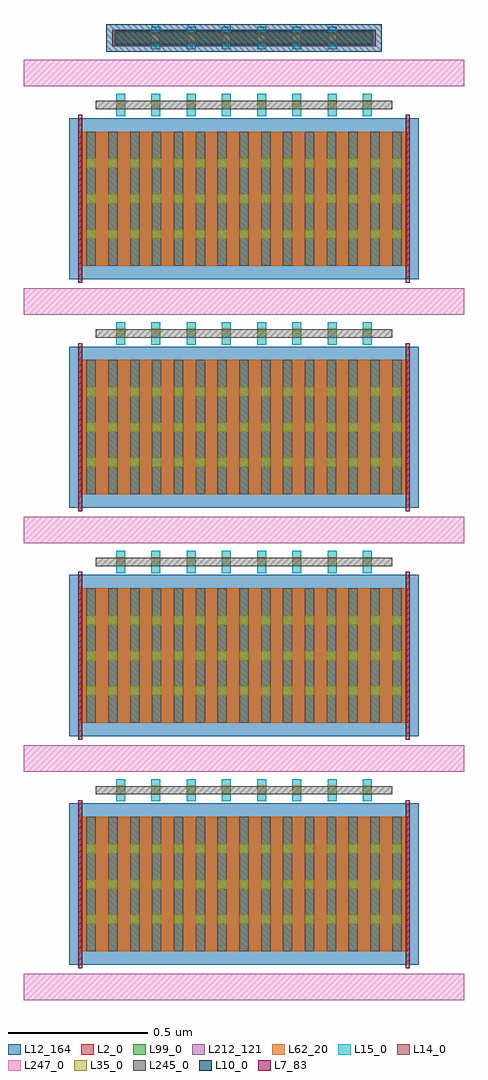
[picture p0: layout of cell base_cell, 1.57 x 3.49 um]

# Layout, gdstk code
import gdstk
lib = gdstk.Library(unit=1e-6, precision=1e-12)
def R(c, l, rs):  # rectangles x0, y0, x1, y1
    for r in rs: c.add(gdstk.rectangle(r[:2], r[2:], *l))
def A(c, l, x, y, w, h, nx, ny, dx, dy):  # array of equal rectangles
    R(c, l, [(x+i*dx, y+j*dy, x+i*dx+w, y+j*dy+h) for i in range(nx) for j in range(ny)])
L2_0 = (2, 0)
L7_83 = (7, 83)
L10_0 = (10, 0)
L12_164 = (12, 164)
L14_0 = (14, 0)
L15_0 = (15, 0)
L35_0 = (35, 0)
L62_20 = (62, 20)
L99_0 = (99, 0)
L212_121 = (212, 121)
L245_0 = (245, 0)
L247_0 = (247, 0)

base_cell = lib.new_cell('base_cell')
A(base_cell, L2_0, 0, 0, 1.17, 0.48, 1, 4, 0, 0.816)
R(base_cell, L2_0, [(0.1136,3.232,1.0564,3.292)])
A(base_cell, L7_83, -0.007, -0.06, 0.014, 0.6, 1, 4, 0, 0.816)
A(base_cell, L7_83, 1.163, -0.06, 0.014, 0.6, 1, 4, 0, 0.816)
R(base_cell, L10_0, [(0.0936,3.212,1.0764,3.312)])
A(base_cell, L12_164, -0.039, -0.048, 1.248, 0.576, 1, 4, 0, 0.816)
A(base_cell, L14_0, 0.022, 0, 0.034, 0.48, 15, 4, 0.078, 0.816)
R(base_cell, L14_0, [(0.1286,3.242,1.0414,3.282)])
A(base_cell, L15_0, 0.023, 0, 0.032, 0.48, 15, 4, 0.078, 0.816)
A(base_cell, L15_0, 0.128, 0.535, 0.032, 0.08, 8, 4, 0.126, 0.816)
A(base_cell, L15_0, 0.254, 3.222, 0.032, 0.08, 6, 1, 0.126, 0)
A(base_cell, L35_0, 0.023, 0.098, 0.032, 0.032, 15, 3, 0.078, 0.126)
A(base_cell, L35_0, 0.128, 0.559, 0.032, 0.032, 8, 4, 0.126, 0.816)
A(base_cell, L35_0, 0.023, 0.914, 0.032, 0.032, 15, 3, 0.078, 0.126)
A(base_cell, L35_0, 0.023, 1.73, 0.032, 0.032, 15, 3, 0.078, 0.126)
A(base_cell, L35_0, 0.023, 2.546, 0.032, 0.032, 15, 3, 0.078, 0.126)
A(base_cell, L35_0, 0.254, 3.246, 0.032, 0.032, 6, 1, 0.126, 0)
A(base_cell, L62_20, 0, 0, 1.17, 0.48, 1, 4, 0, 0.816)
A(base_cell, L99_0, 0, 0, 1.17, 0.48, 1, 4, 0, 0.816)
R(base_cell, L99_0, [(0.1236,3.237,1.0464,3.287)])
A(base_cell, L212_121, 0, 0, 1.17, 0.48, 1, 4, 0, 0.816)
A(base_cell, L245_0, 0.055, 0.56, 1.06, 0.03, 1, 4, 0, 0.816)
A(base_cell, L247_0, -0.202, -0.174, 1.574, 0.094, 1, 5, 0, 0.816)

lib.write_gds('base_cell.gds')
